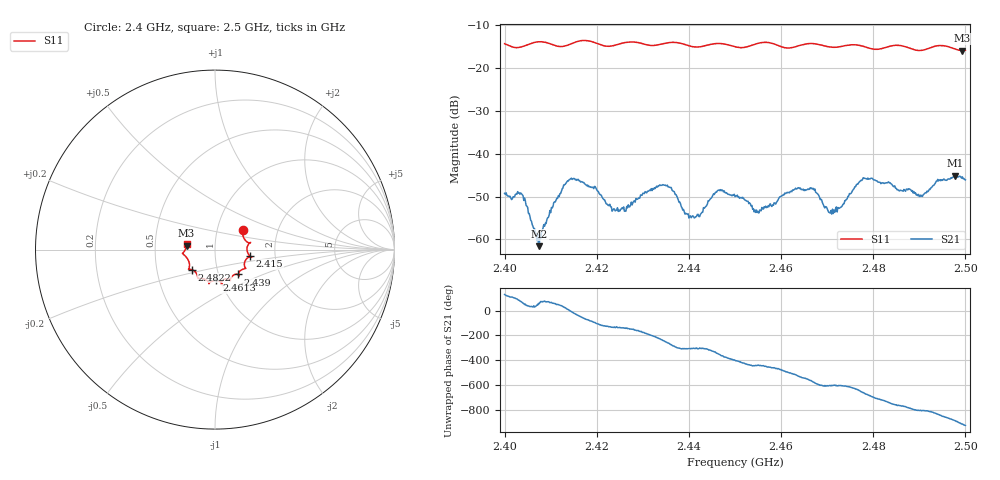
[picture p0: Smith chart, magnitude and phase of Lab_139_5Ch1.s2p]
# Hz S RI R 50
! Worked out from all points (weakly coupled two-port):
!   601 points, 2.4 GHz to 2.5 GHz, reference 50 ohm
!   highest |S21| = -45.12 dB at 2.4978 GHz (marker M1); lowest = -61.6 dB at 2.4075 GHz (marker M2)
!   lowest |S11| = -15.9 dB at 2.4993 GHz (marker M3), VSWR 1.38, Z = 36.3 + j1.59 ohm
!   |S11| at or under -10 dB: start of sweep to end of sweep
!   S12 and S22 are empty: the file has one direction only
!   S11 on the Smith chart (normalised r, x): 2.4 GHz: 1.33, +0.31; 2.415 GHz: 1.48, -0.11; 2.439 GHz: 1.24, -0.36; 2.4613 GHz: 0.96, -0.34; 2.4822 GHz: 0.75, -0.17; 2.5 GHz: 0.73, +0.05
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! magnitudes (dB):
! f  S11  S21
! 2.4 GHz  -14.3  -49.2
! 2.404 GHz  -15.0  -49.8
! 2.4075 GHz  -13.9  -61.6
! 2.415 GHz  -14.1  -45.8
! 2.4167 GHz  -13.6  -46.5
! 2.4245 GHz  -14.5  -52.6
! 2.4333 GHz  -14.6  -47.5
! 2.4363 GHz  -14.0  -48.5
! 2.439 GHz  -14.5  -53.6
! 2.4467 GHz  -14.3  -48.6
! 2.45 GHz  -15.0  -50.0
! 2.4547 GHz  -14.3  -53.1
! 2.4613 GHz  -15.3  -49.0
! 2.4667 GHz  -14.3  -48.0
! 2.4708 GHz  -15.1  -53.3
! 2.4777 GHz  -14.9  -46.0
! 2.4822 GHz  -15.4  -46.8
! 2.4833 GHz  -15.0  -46.6
! 2.4902 GHz  -15.9  -49.9
! 2.4978 GHz  -15.6  -45.1
! 2.4993 GHz  -15.9  -45.4
! 2.5 GHz  -15.8  -46.1
